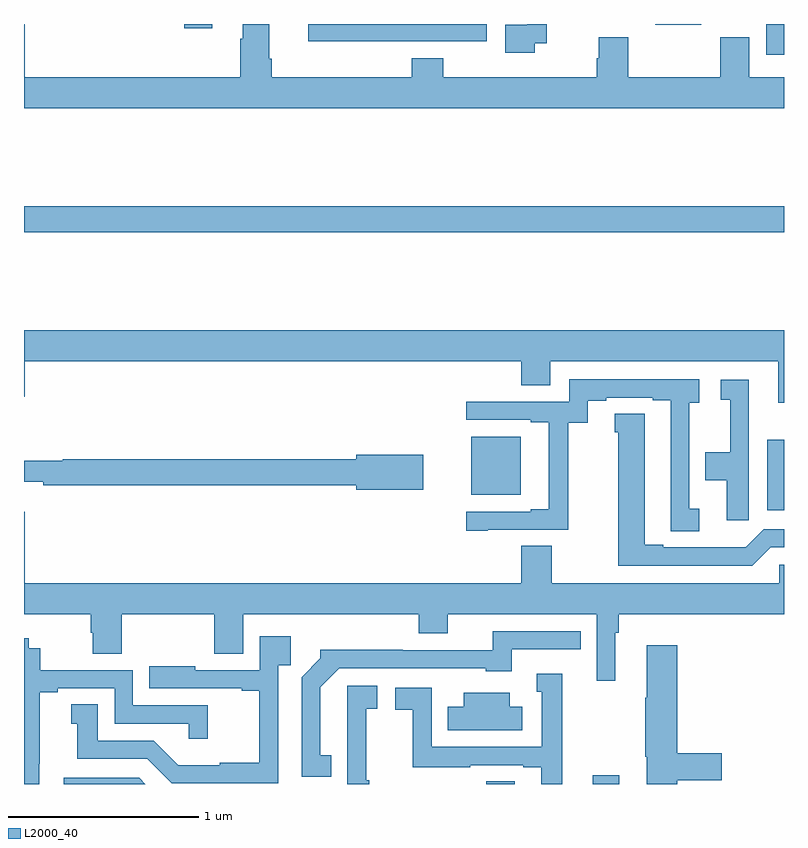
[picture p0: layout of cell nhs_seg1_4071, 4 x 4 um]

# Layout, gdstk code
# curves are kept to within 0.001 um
import gdstk
lib = gdstk.Library(unit=1e-6, precision=1e-09)
def R(c, l, rs):  # rectangles x0, y0, x1, y1
    for r in rs: c.add(gdstk.rectangle(r[:2], r[2:], *l))
def P(c, l, *ps):  # polygons
    for p in ps: c.add(gdstk.Polygon(p, *l))
L2000_40 = (2000, 40)

nhs_seg1_4071 = lib.new_cell('nhs_seg1_4071')
R(nhs_seg1_4071, L2000_40, [(335.432,524.199,335.584,524.213), (335.993,524.199,336.133,524.245), (336.911,525.641,337,526.012), (335.354,525.722,335.614,526.027), (333,527.104,337,527.24), (336.906,528.036,337,528.199), (333.843,528.177,333.991,528.199), (336.322,528.194,336.565,528.199)])
P(nhs_seg1_4071, L2000_40, [(334.958,528.108),(335.436,528.108),(335.436,528.199),(334.496,528.199),(334.496,528.107),(334.958,528.107)],
  [(335.688,528.099),(335.75,528.099),(335.75,528.199),(335.649,528.199),(335.649,528.195),(335.532,528.195),(335.532,528.048),(335.688,528.048)],
  [(337,527.92),(336.817,527.92),(336.817,528.128),(336.665,528.128),(336.665,527.92),(336.179,527.92),(336.179,528.128),(336.026,528.128),(336.026,528.018),(336.014,528.018),(336.014,527.92),(335.207,527.92),(335.207,528.019),(335.042,528.019),(335.042,527.92),(334.304,527.92),(334.304,528.016),(334.291,528.016),(334.291,528.199),(334.151,528.199),(334.151,528.122),(334.139,528.122),(334.139,527.92),(333.004,527.92),(333.004,528.199),(333,528.199),(333,527.756),(337,527.756)],
  [(337,526.588),(333,526.588),(333,526.236),(333.004,526.236),(333.004,526.424),(335.618,526.424),(335.618,526.297),(335.77,526.297),(335.77,526.424),(336.971,526.424),(336.971,526.206),(337,526.206)],
  [(336.553,525.648),(336.501,525.648),(336.501,526.205),(336.553,526.205),(336.553,526.329),(335.871,526.329),(335.871,526.212),(335.328,526.212),(335.328,526.116),(335.666,526.116),(335.666,526.104),(335.762,526.104),(335.762,525.646),(335.666,525.646),(335.666,525.633),(335.328,525.633),(335.328,525.532),(335.44,525.532),(335.44,525.537),(335.864,525.537),(335.864,526.1),(335.968,526.1),(335.968,526.215),(336.064,526.215),(336.064,526.233),(336.308,526.233),(336.308,526.218),(336.404,526.218),(336.404,525.637),(336.405,525.637),(336.405,525.529),(336.553,525.529)],
  [(336.814,526.327),(336.666,526.327),(336.666,526.221),(336.716,526.221),(336.716,525.946),(336.586,525.946),(336.586,525.799),(336.698,525.799),(336.698,525.588),(336.814,525.588)],
  [(336.93,525.444),(337,525.444),(337,525.54),(336.894,525.54),(336.799,525.445),(336.364,525.444),(336.364,525.459),(336.268,525.459),(336.267,526.148),(336.11,526.148),(336.11,526.05),(336.128,526.05),(336.128,525.348),(336.834,525.348)],
  [(335.101,525.932),(334.748,525.932),(334.748,525.908),(333.203,525.908),(333.203,525.901),(333,525.901),(333,525.791),(333.1,525.791),(333.1,525.772),(334.748,525.772),(334.748,525.749),(335.101,525.749)],
  [(336.112,524.996),(336.131,524.996),(336.131,525.092),(337,525.092),(337,525.354),(336.975,525.354),(336.975,525.256),(335.778,525.256),(335.778,525.452),(335.618,525.452),(335.618,525.256),(333.004,525.256),(333.004,525.631),(333,525.631),(333,525.092),(333.35,525.092),(333.35,524.994),(333.362,524.994),(333.362,524.884),(333.515,524.884),(333.515,525.092),(334.001,525.092),(334.001,524.884),(334.153,524.884),(334.153,525.092),(335.078,525.092),(335.078,524.993),(335.23,524.993),(335.23,525.092),(336.015,525.092),(336.015,524.742),(336.112,524.742)],
  [(334.616,524.351),(334.558,524.351),(334.558,524.707),(334.659,524.808),(335.43,524.808),(335.43,524.792),(335.566,524.792),(335.566,524.907),(335.93,524.907),(335.93,525.003),(335.467,525.003),(335.467,524.904),(334.994,524.904),(334.994,524.906),(334.56,524.906),(334.56,524.861),(334.461,524.762),(334.461,524.238),(334.616,524.238)],
  [(334.338,524.825),(334.403,524.825),(334.403,524.977),(334.242,524.977),(334.242,524.799),(333.901,524.799),(333.901,524.818),(333.658,524.818),(333.658,524.703),(334.145,524.703),(334.145,524.691),(334.237,524.691),(334.237,524.311),(334.031,524.311),(334.031,524.299),(333.812,524.299),(333.684,524.427),(333.388,524.427),(333.388,524.618),(333.248,524.618),(333.248,524.515),(333.281,524.515),(333.281,524.331),(333.648,524.331),(333.777,524.202),(334.338,524.202)],
  [(333.08,524.305),(333.082,524.305),(333.082,524.683),(333.178,524.683),(333.178,524.703),(333.477,524.703),(333.477,524.517),(333.867,524.517),(333.867,524.436),(333.968,524.436),(333.968,524.613),(333.573,524.613),(333.573,524.799),(333.086,524.799),(333.086,524.913),(333.024,524.913),(333.024,524.965),(333,524.965),(333,524.199),(333.08,524.199)],
  [(336.437,524.218),(336.673,524.218),(336.673,524.36),(336.437,524.36),(336.437,524.929),(336.278,524.929),(336.278,524.654),(336.271,524.654),(336.271,524.343),(336.278,524.343),(336.278,524.199),(336.437,524.199)],
  [(335.833,524.779),(335.699,524.779),(335.699,524.685),(335.724,524.685),(335.724,524.394),(335.145,524.394),(335.145,524.706),(334.953,524.706),(334.953,524.59),(335.047,524.59),(335.047,524.286),(335.348,524.286),(335.348,524.298),(335.627,524.298),(335.627,524.286),(335.723,524.286),(335.723,524.199),(335.833,524.199)],
  [(334.817,524.219),(334.8,524.219),(334.8,524.595),(334.858,524.595),(334.858,524.716),(334.7,524.716),(334.7,524.44),(334.701,524.44),(334.701,524.199),(334.817,524.199)],
  [(335.623,524.605),(335.557,524.605),(335.557,524.68),(335.315,524.68),(335.315,524.605),(335.23,524.605),(335.23,524.483),(335.623,524.483)],
  [(333.606,524.232),(333.21,524.232),(333.21,524.199),(333.639,524.199)])

lib.write_gds('nhs_seg1_4071.gds')
